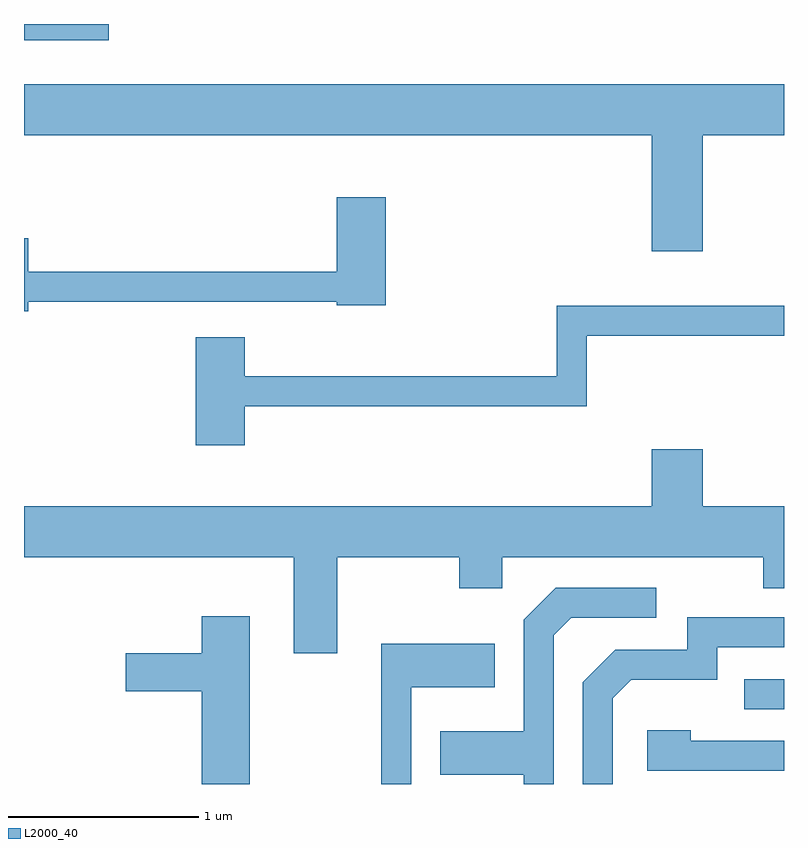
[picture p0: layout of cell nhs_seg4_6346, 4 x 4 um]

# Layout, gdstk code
import gdstk
lib = gdstk.Library(unit=1e-6, precision=1e-09)
def R(c, l, rs):  # rectangles x0, y0, x1, y1
    for r in rs: c.add(gdstk.rectangle(r[:2], r[2:], *l))
def P(c, l, *ps):  # polygons
    for p in ps: c.add(gdstk.Polygon(p, *l))
L2000_40 = (2000, 40)

nhs_seg4_6346 = lib.new_cell('nhs_seg4_6346')
R(nhs_seg4_6346, L2000_40, [(375.403,1298.376,375.611,1298.534), (371.611,1301.896,372.058,1301.982)])
P(nhs_seg4_6346, L2000_40, [(375.184,1301.396),(375.611,1301.396),(375.611,1301.664),(371.611,1301.664),(371.611,1301.396),(374.916,1301.396),(374.916,1300.786),(375.184,1300.786)],
  [(371.634,1300.521),(373.256,1300.521),(373.256,1300.501),(373.514,1300.501),(373.514,1301.069),(373.256,1301.069),(373.256,1300.679),(371.634,1300.679),(371.634,1300.854),(371.611,1300.854),(371.611,1300.471),(371.634,1300.471)],
  [(372.774,1299.971),(374.574,1299.971),(374.574,1300.341),(375.611,1300.341),(375.611,1300.499),(374.416,1300.499),(374.416,1300.129),(372.774,1300.129),(372.774,1300.334),(372.516,1300.334),(372.516,1299.766),(372.774,1299.766)],
  [(373.259,1299.176),(373.901,1299.176),(373.901,1299.011),(374.129,1299.011),(374.129,1299.176),(375.501,1299.176),(375.501,1299.011),(375.611,1299.011),(375.611,1299.444),(375.184,1299.444),(375.184,1299.744),(374.916,1299.744),(374.916,1299.444),(371.611,1299.444),(371.611,1299.176),(373.031,1299.176),(373.031,1298.671),(373.259,1298.671)],
  [(374.399,1298.764),(374.492,1298.856),(374.938,1298.856),(374.938,1299.014),(374.409,1299.014),(374.241,1298.847),(374.241,1298.259),(373.801,1298.259),(373.801,1298.031),(374.241,1298.031),(374.241,1297.982),(374.399,1297.982)],
  [(372.799,1298.864),(372.546,1298.864),(372.546,1298.669),(372.146,1298.669),(372.146,1298.471),(372.546,1298.471),(372.546,1297.982),(372.799,1297.982)],
  [(374.709,1298.434),(374.807,1298.531),(375.259,1298.531),(375.259,1298.701),(375.611,1298.701),(375.611,1298.859),(375.101,1298.859),(375.101,1298.689),(374.724,1298.689),(374.551,1298.517),(374.551,1297.982),(374.709,1297.982)],
  [(373.649,1298.491),(374.089,1298.491),(374.089,1298.719),(373.491,1298.719),(373.491,1297.982),(373.649,1297.982)],
  [(375.611,1298.209),(375.119,1298.209),(375.119,1298.264),(374.891,1298.264),(374.891,1298.051),(375.611,1298.051)])

lib.write_gds('nhs_seg4_6346.gds')
